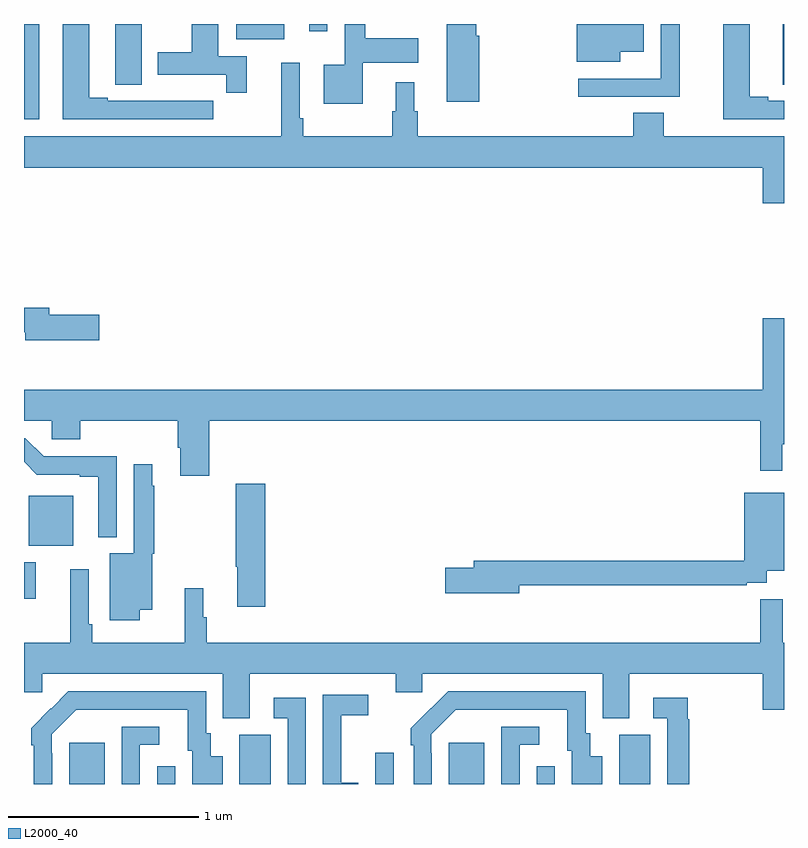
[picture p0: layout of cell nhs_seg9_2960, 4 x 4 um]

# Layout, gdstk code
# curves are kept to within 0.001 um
import gdstk
lib = gdstk.Library(unit=1e-6, precision=1e-09)
def R(c, l, rs):  # rectangles x0, y0, x1, y1
    for r in rs: c.add(gdstk.rectangle(r[:2], r[2:], *l))
def P(c, l, *ps):  # polygons
    for p in ps: c.add(gdstk.Polygon(p, *l))
L2000_40 = (2000, 40)

nhs_seg9_2960 = lib.new_cell('nhs_seg9_2960')
R(nhs_seg9_2960, L2000_40, [(281.237,1202.5,281.425,1202.716), (281.7,1202.5,281.796,1202.593), (282.134,1202.5,282.298,1202.76), (282.849,1202.5,282.945,1202.665), (283.235,1202.5,283.423,1202.716), (283.698,1202.5,283.794,1202.593), (284.132,1202.5,284.296,1202.76), (281,1203.474,281.063,1203.666), (281.024,1203.755,281.26,1204.018), (281,1206,281.08,1206.5), (284.993,1206.181,285,1206.5), (282.116,1206.419,282.37,1206.5), (282.5,1206.462,282.597,1206.5)])
P(nhs_seg9_2960, L2000_40, [(284.451,1206.5),(284.352,1206.5),(284.352,1206.214),(284.351,1206.214),(284.351,1206.213),(283.917,1206.213),(283.917,1206.117),(284.451,1206.117)],
  [(284.137,1206.353),(284.263,1206.353),(284.263,1206.5),(283.91,1206.5),(283.91,1206.302),(284.137,1206.302)],
  [(281.995,1206.096),(281.882,1206.096),(281.882,1206.097),(281.716,1206.097),(281.716,1206.096),(281.44,1206.096),(281.44,1206.111),(281.344,1206.111),(281.344,1206.5),(281.204,1206.5),(281.204,1206),(281.995,1206)],
  [(282.784,1206.296),(283.075,1206.296),(283.075,1206.426),(282.796,1206.426),(282.796,1206.5),(282.687,1206.5),(282.687,1206.286),(282.578,1206.286),(282.578,1206.08),(282.784,1206.08)],
  [(281.62,1206.5),(281.48,1206.5),(281.48,1206.289),(281.481,1206.289),(281.481,1206.181),(281.62,1206.181)],
  [(282.173,1206.33),(282.022,1206.33),(282.022,1206.5),(281.882,1206.5),(281.882,1206.351),(281.705,1206.351),(281.705,1206.234),(282.064,1206.234),(282.064,1206.138),(282.173,1206.138)],
  [(283.397,1206.438),(283.379,1206.438),(283.379,1206.5),(283.225,1206.5),(283.225,1206.438),(283.226,1206.438),(283.226,1206.09),(283.397,1206.09)],
  [(285,1206.096),(284.917,1206.096),(284.917,1206.116),(284.821,1206.116),(284.821,1206.5),(284.681,1206.5),(284.681,1206),(285,1206)],
  [(285,1205.908),(284.367,1205.908),(284.367,1206.032),(284.207,1206.032),(284.207,1205.908),(283.073,1205.908),(283.073,1206.042),(283.054,1206.042),(283.054,1206.193),(282.956,1206.193),(282.956,1206.042),(282.937,1206.042),(282.937,1205.908),(282.47,1205.908),(282.47,1206.004),(282.45,1206.004),(282.45,1206.295),(282.353,1206.295),(282.353,1205.908),(281,1205.908),(281,1205.744),(284.888,1205.744),(284.888,1205.556),(285,1205.556)],
  [(281.395,1204.97),(281.134,1204.97),(281.134,1205.006),(281,1205.006),(281,1204.878),(281.006,1204.878),(281.006,1204.835),(281.395,1204.835)],
  [(281.975,1204.412),(284.875,1204.412),(284.875,1204.149),(284.992,1204.149),(284.992,1204.289),(285,1204.289),(285,1204.951),(284.888,1204.951),(284.888,1204.576),(281,1204.576),(281,1204.412),(281.145,1204.412),(281.145,1204.314),(281.297,1204.314),(281.297,1204.412),(281.81,1204.412),(281.81,1204.27),(281.822,1204.27),(281.822,1204.122),(281.975,1204.122)],
  [(281.487,1204.224),(281.103,1204.224),(281.007,1204.32),(281,1204.32),(281,1204.195),(281.067,1204.128),(281.294,1204.128),(281.294,1204.116),(281.39,1204.116),(281.39,1203.8),(281.487,1203.8)],
  [(281.608,1203.416),(281.674,1203.416),(281.674,1203.711),(281.686,1203.711),(281.686,1204.07),(281.674,1204.07),(281.674,1204.183),(281.577,1204.183),(281.577,1203.715),(281.45,1203.715),(281.45,1203.363),(281.608,1203.363)],
  [(282.269,1204.081),(282.115,1204.081),(282.115,1203.644),(282.122,1203.644),(282.122,1203.432),(282.269,1203.432)],
  [(283.606,1203.546),(284.804,1203.546),(284.804,1203.558),(284.908,1203.558),(284.908,1203.623),(285,1203.623),(285,1204.033),(284.792,1204.033),(284.792,1203.674),(283.367,1203.674),(283.367,1203.638),(283.218,1203.638),(283.218,1203.503),(283.606,1203.503)],
  [(282.187,1203.08),(282.956,1203.08),(282.956,1202.982),(283.095,1202.982),(283.095,1203.08),(284.045,1203.08),(284.045,1202.845),(284.185,1202.845),(284.185,1203.08),(284.888,1203.08),(284.888,1202.892),(285,1202.892),(285,1203.244),(284.993,1203.244),(284.993,1203.473),(284.875,1203.473),(284.875,1203.244),(281.963,1203.244),(281.963,1203.378),(281.944,1203.378),(281.944,1203.529),(281.845,1203.529),(281.845,1203.244),(281.36,1203.244),(281.36,1203.34),(281.34,1203.34),(281.34,1203.631),(281.243,1203.631),(281.243,1203.244),(281,1203.244),(281,1202.982),(281.097,1202.982),(281.097,1203.08),(282.047,1203.08),(282.047,1202.845),(282.187,1202.845)],
  [(283.146,1202.663),(283.143,1202.663),(283.143,1202.763),(283.272,1202.892),(283.859,1202.892),(283.859,1202.676),(283.883,1202.676),(283.883,1202.5),(284.044,1202.5),(284.044,1202.647),(283.981,1202.647),(283.981,1202.766),(283.956,1202.766),(283.956,1202.988),(283.232,1202.988),(283.035,1202.793),(283.035,1202.705),(283.05,1202.705),(283.05,1202.5),(283.146,1202.5)],
  [(281.148,1202.663),(281.145,1202.663),(281.145,1202.763),(281.274,1202.892),(281.861,1202.892),(281.861,1202.676),(281.885,1202.676),(281.885,1202.5),(282.046,1202.5),(282.046,1202.647),(281.983,1202.647),(281.983,1202.766),(281.958,1202.766),(281.958,1202.988),(281.234,1202.988),(281.037,1202.793),(281.037,1202.705),(281.052,1202.705),(281.052,1202.5),(281.148,1202.5)],
  [(282.76,1202.506),(282.671,1202.506),(282.671,1202.862),(282.811,1202.862),(282.811,1202.97),(282.573,1202.97),(282.573,1202.5),(282.76,1202.5)],
  [(282.483,1202.953),(282.315,1202.953),(282.315,1202.847),(282.387,1202.847),(282.387,1202.5),(282.483,1202.5)],
  [(284.501,1202.84),(284.494,1202.84),(284.494,1202.953),(284.313,1202.953),(284.313,1202.847),(284.385,1202.847),(284.385,1202.5),(284.501,1202.5)],
  [(281.61,1202.706),(281.713,1202.706),(281.713,1202.802),(281.514,1202.802),(281.514,1202.5),(281.61,1202.5)],
  [(283.608,1202.706),(283.711,1202.706),(283.711,1202.802),(283.512,1202.802),(283.512,1202.5),(283.608,1202.5)])

lib.write_gds('nhs_seg9_2960.gds')
